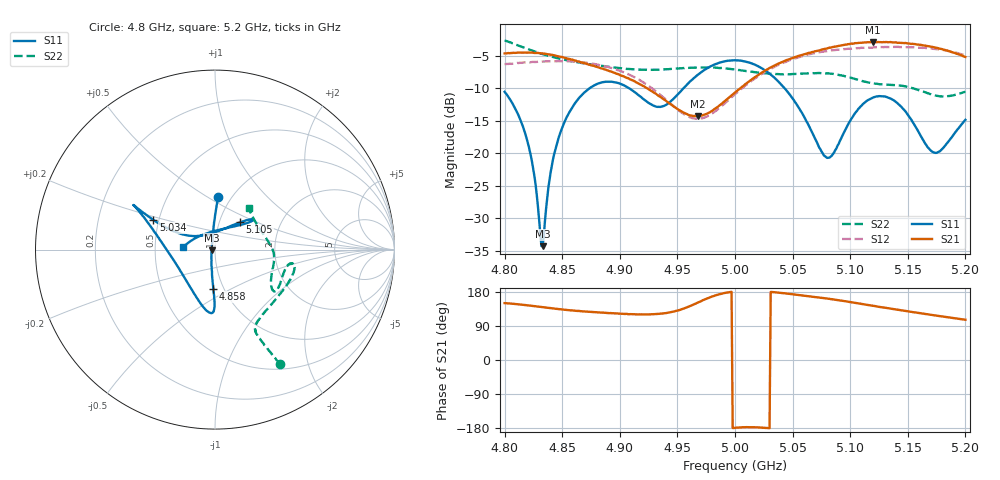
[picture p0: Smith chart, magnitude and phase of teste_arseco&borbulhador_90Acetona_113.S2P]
! Network Analyzer HP8722D
! Hewlett-Packard
! Data name: Linha & Wilkinson
! Saver's name: Rodrigo Anjos
! Comments: Teste da utilização de aquisição
! continua pelo VNA HP8722D
! Time and date: 17/4/2025 11:59
!  Frequency  S11  S21  S12  S22
# HZ  S  MA R 50
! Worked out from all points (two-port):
!   401 points, 4.8 GHz to 5.2 GHz, reference 50 ohm
!   highest |S21| = -2.91 dB at 5.12 GHz (marker M1); lowest = -14.3 dB at 4.968 GHz (marker M2)
!   |S21| within 3 dB of the highest: start of sweep to 4.864 GHz; 5.042 GHz to end of sweep
!   lowest |S11| = -34.3 dB at 4.833 GHz (marker M3), VSWR 1.04, Z = 48.1 - j0.36 ohm
!   |S11| at or under -10 dB: start of sweep to 4.874 GHz; 4.908 GHz to 4.955 GHz (47.62 MHz wide, 0.966 % of centre); 5.043 GHz to end of sweep
!   |S22| runs from -11.3 to -2.7 dB; largest |S21 - S12| = 1.3
!   S11 on the Smith chart (normalised r, x): 4.8 GHz: 0.87, +0.56; 4.858 GHz: 0.89, -0.41; 5.034 GHz: 0.47, +0.18; 5.105 GHz: 1.26, +0.40; 5.2 GHz: 0.70, +0.02
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4.8e9  0.2958 86.7  0.5844 150.1  0.4839 -111.6  0.735 -60.3
4.811e9  0.2044 89.1  0.5928 147.2  0.4937 -111.3  0.6761 -61.2
4.82e9  0.121 94.0  0.5923 144.2  0.4986 -110.8  0.6323 -62.0
4.826e9  0.06543 102.7  0.5891 141.9  0.5019 -110.4  0.605 -62.4
4.831e9  0.02377 138.7  0.5847 140.0  0.5059 -109.8  0.5855 -62.8
4.833e9  0.01924 -168.8  0.5845 139.3  0.5062 -109.9  0.5766 -62.9
4.839e9  0.06279 -107.9  0.5732 137.1  0.5089 -109.6  0.5569 -63.3
4.843e9  0.09801 -101.0  0.5649 135.6  0.5088 -109.4  0.5448 -63.5
4.858e9  0.2194 -92.4  0.5238 131.0  0.5077 -109.1  0.5087 -63.6
4.867e9  0.2799 -90.6  0.4978 128.6  0.4991 -109.3  0.4937 -63.2
4.898e9  0.347 -96.9  0.4068 122.9  0.435 -112.8  0.4526 -55.3
4.934e9  0.2269 -148.0  0.2741 121.7  0.2865 -116.0  0.4379 -34.8
4.968e9  0.4021 158.2  0.192 152.0  0.1837 -84.1  0.455 -17.0
5e9  0.5175 151.3  0.2921 -179.1  0.2847 -49.5  0.439 -10.2
5.034e9  0.3819 154.2  0.4703 178.8  0.4599 -44.1  0.4063 -15.9
5.067e9  0.144 148.4  0.5987 167.3  0.5831 -47.3  0.4112 -30.0
5.082e9  0.0923 100.4  0.647 161.4  0.6142 -50.3  0.4089 -34.4
5.105e9  0.2069 47.2  0.7008 150.4  0.6416 -55.3  0.3695 -32.2
5.12e9  0.2679 39.5  0.7156 142.9  0.6497 -59.7  0.3435 -23.0
5.134e9  0.2651 37.5  0.7126 136.2  0.6542 -64.4  0.3357 -12.3
5.173e9  0.1009 102.4  0.6512 117.9  0.6323 -78.0  0.2791 20.5
5.2e9  0.1801 175.9  0.5486 106.2  0.5629 -87.1  0.2961 50.9
